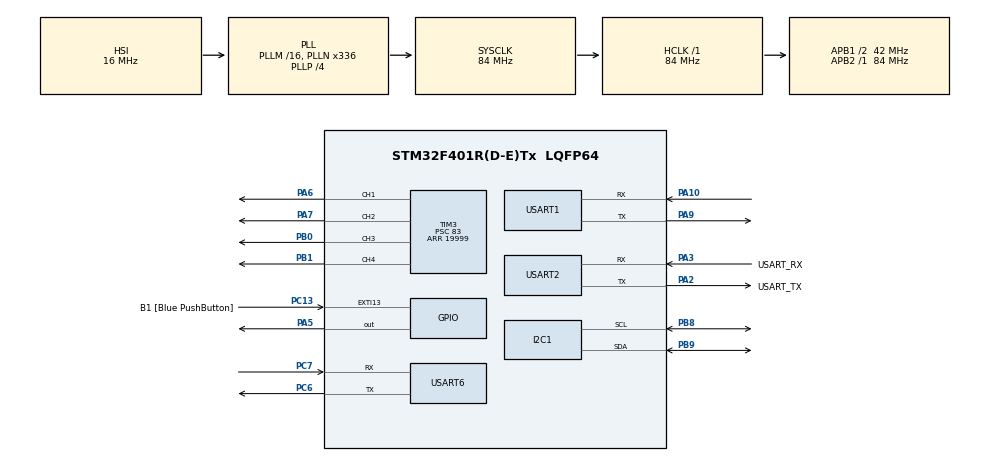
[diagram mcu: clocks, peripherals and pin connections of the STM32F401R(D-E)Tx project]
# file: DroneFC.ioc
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I2C1.I2C_Mode=I2C_Fast
Mcu.Family=STM32F4
Mcu.Name=STM32F401R(D-E)Tx
Mcu.Package=LQFP64
NVIC.PriorityGroup=NVIC_PRIORITYGROUP_4
NVIC.TIM4_IRQn=true\:0\:0\:false\:false\:true\:true\:true\:true
NVIC.USART1_IRQn=true\:2\:0\:true\:false\:true\:true\:true\:true
NVIC.USART6_IRQn=true\:1\:0\:true\:false\:true\:true\:true\:true
PA10.Mode=Asynchronous
PA10.Signal=USART1_RX
PA13.GPIO_Label=TMS
PA13.Mode=Trace_Asynchronous_SW
PA13.Signal=SYS_JTMS-SWDIO
PA14.GPIO_Label=TCK
PA14.Mode=Trace_Asynchronous_SW
PA14.Signal=SYS_JTCK-SWCLK
PA2.GPIO_Label=USART_TX
PA2.GPIO_Mode=GPIO_MODE_AF_PP
PA2.GPIO_PuPd=GPIO_NOPULL
PA2.GPIO_Speed=GPIO_SPEED_FREQ_LOW
PA2.Mode=Asynchronous
PA2.Signal=USART2_TX
PA3.GPIO_Label=USART_RX
PA3.GPIO_Mode=GPIO_MODE_AF_PP
PA3.GPIO_PuPd=GPIO_NOPULL
PA3.GPIO_Speed=GPIO_SPEED_FREQ_LOW
PA3.Mode=Asynchronous
PA3.Signal=USART2_RX
PA5.Signal=GPIO_Output
PA6.Signal=S_TIM3_CH1
PA7.Signal=S_TIM3_CH2
PA9.Mode=Asynchronous
PA9.Signal=USART1_TX
PB0.Signal=S_TIM3_CH3
PB1.Signal=S_TIM3_CH4
PB3.GPIO_Label=SWO
PB3.Mode=Trace_Asynchronous_SW
PB3.Signal=SYS_JTDO-SWO
PB8.Mode=I2C
PB8.Signal=I2C1_SCL
PB9.Mode=I2C
PB9.Signal=I2C1_SDA
PC13-ANTI_TAMP.GPIO_Label=B1 [Blue PushButton]
PC13-ANTI_TAMP.GPIO_ModeDefaultEXTI=GPIO_MODE_IT_FALLING
PC13-ANTI_TAMP.GPIO_PuPd=GPIO_NOPULL
PC13-ANTI_TAMP.Signal=GPXTI13
PC14-OSC32_IN.Mode=LSE-External-Oscillator
PC14-OSC32_IN.Signal=RCC_OSC32_IN
PC15-OSC32_OUT.Mode=LSE-External-Oscillator
PC15-OSC32_OUT.Signal=RCC_OSC32_OUT
PC6.Mode=Asynchronous
PC6.Signal=USART6_TX
PC7.Mode=Asynchronous
PC7.Signal=USART6_RX
PH0\ -\ OSC_IN.Mode=HSE-External-Clock-Source
PH0\ -\ OSC_IN.Signal=RCC_OSC_IN
PH1\ -\ OSC_OUT.Mode=HSE-External-Clock-Source
PH1\ -\ OSC_OUT.Signal=RCC_OSC_OUT
ProjectManager.HeapSize=0x200
ProjectManager.StackSize=0x400
ProjectManager.TargetToolchain=STM32CubeIDE
RCC.48MHZClocksFreq_Value=48000000
RCC.AHBFreq_Value=84000000
RCC.APB1CLKDivider=RCC_HCLK_DIV2
RCC.APB1Freq_Value=42000000
RCC.APB1TimFreq_Value=84000000
RCC.APB2Freq_Value=84000000
RCC.APB2TimFreq_Value=84000000
RCC.CortexFreq_Value=84000000
RCC.HCLKFreq_Value=84000000
RCC.HSE_VALUE=8000000
RCC.HSI_VALUE=16000000
RCC.PLLN=336
RCC.PLLP=RCC_PLLP_DIV4
RCC.PLLQ=7
RCC.SYSCLKFreq_VALUE=84000000
RCC.SYSCLKSource=RCC_SYSCLKSOURCE_PLLCLK
RCC.VCOOutputFreq_Value=336000000
SH.S_TIM3_CH1.0=TIM3_CH1,PWM Generation1 CH1
SH.S_TIM3_CH2.0=TIM3_CH2,PWM Generation2 CH2
SH.S_TIM3_CH3.0=TIM3_CH3,PWM Generation3 CH3
SH.S_TIM3_CH4.0=TIM3_CH4,PWM Generation4 CH4
TIM3.AutoReloadPreload=TIM_AUTORELOAD_PRELOAD_ENABLE
TIM3.Channel-PWM\ Generation1\ CH1=TIM_CHANNEL_1
TIM3.Channel-PWM\ Generation2\ CH2=TIM_CHANNEL_2
TIM3.Channel-PWM\ Generation3\ CH3=TIM_CHANNEL_3
TIM3.Channel-PWM\ Generation4\ CH4=TIM_CHANNEL_4
TIM3.Period=19999
TIM3.Prescaler=83
TIM3.Pulse-PWM\ Generation1\ CH1=1000
TIM3.Pulse-PWM\ Generation2\ CH2=1000
TIM3.Pulse-PWM\ Generation3\ CH3=1000
TIM3.Pulse-PWM\ Generation4\ CH4=1000
TIM4.Prescaler=83
USART1.VirtualMode=VM_ASYNC
USART2.VirtualMode=VM_ASYNC
USART6.VirtualMode=VM_ASYNC
VP_TIM4_VS_ClockSourceINT.Mode=Internal
board=NUCLEO-F401RE

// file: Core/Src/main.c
/* USER CODE BEGIN Header */
/**
  ******************************************************************************
  * @file           : main.c
  * @brief          : Main program body
  *
  * Stage 8b: post-assembly verification, vibration survey, PID tuning console
  *
  * VALUES CHANGED IN THIS VERSION (code is otherwise identical)
  *
  *   MIXER_DRY_RUN     0    -> 1
  *       A crash where one whole SIDE of the aircraft ran lower is a sign
  *       error, not a tuning error. CH2 (back-left) and CH4 (front-left) are
  *       both on the left. Tuning faults look like oscillation; a steady lean
  *       means the controller is commanding it. No gain value fixes that, so
  *       the mixer goes back to dry run until the sign is found.
  *
  *   THROTTLE_CAP_US   2000 -> 1450
  *       Bench ceiling restored. Full throttle belongs to a verified aircraft.
  *
  *   ESC_IDLE_PULSE    1060 -> 1080
  *       The 1025-1045 startup measurements were taken on a fresh pack with
  *       cool motors. Under load, sag and warm bearings push the real
  *       threshold up. A motor sitting below its startup threshold gives the
  *       PID zero response to push against and winds up against nothing.
  *
  *   GYRO_CAL_SAMPLES  2000 -> 1000
  *       The 4-second still-window kept failing on the assembled frame. 1000
  *       halves it and was reliable before assembly.
  *
  *   PID gains         UNCHANGED
  *       Deliberately. They are not the problem and changing them would only
  *       obscure the sign error.
  *
  * FIND THE SIGN ERROR FIRST
  *   Press 'm', arm, throttle above 1150, and tilt the frame by hand:
  *     left side down  -> RL and FL must go UP
  *     nose down       -> FR and FL must go UP
  *   If a pair moves the wrong way, the fault is one of:
  *     - the IMU is rotated relative to the marked nose (most likely; the X
  *       axis must point at the nose, and this was never verified)
  *     - CH_FOR_* does not match the physical motors
  *     - the mixer roll/pitch row signs
  *   Also hang the frame from a string at its centre. An off-centre battery
  *   produces a permanent lean the integrator can never win against.
  *
  * BUILD REQUIREMENTS
  *   - Core/Src: imu.c, control.c      Core/Inc: imu.h, control.h
  *   - FPU: Properties > C/C++ Build > Settings > MCU Settings
  *       Floating-point unit = FPv4-SP-D16, ABI = Hardware implementation
  *   - Float printf: MCU Settings > "Use float with printf from newlib-nano"
  *
  * BOOT MODES
  *   Normal reset          -> flight firmware
  *   Hold B1 during reset  -> motor identification test (props off)
  *
  * SERIAL CONSOLE (115200 8N1)
  *   VIEWS    c channels   s safety   m mixer   t tune   v vibration
  *   TUNING   q/w Kp -/+   a/d Ki -/+   z/x Kd -/+   g gains   0 reset I
  *   SAFETY   k or SPACE = OUTPUTS OFF (latched)   u = release
  *   MISC     n zero counters   h help
  ******************************************************************************
  */
/* USER CODE END Header */
#include "main.h"

/* USER CODE BEGIN Includes */
#include <stdio.h>
#include <string.h>
#include <math.h>
#include "imu.h"
#include "control.h"
/* USER CODE END Includes */

/* USER CODE BEGIN PD */
#define IBUS_FRAME_SIZE   32
#define IBUS_CHANNELS     14

/* Stick channels, 0-based. Standard AETR, confirmed against the transmitter.
   CH1 roll, CH2 pitch (right stick). CH3 throttle, CH4 yaw (left stick).
   CH6 SWA arm switch. */
#define ROLL_CHANNEL      0
#define PITCH_CHANNEL     1
#define THROTTLE_CHANNEL  2
#define YAW_CHANNEL       3
#define ARM_CHANNEL       5

#define ARM_THRESHOLD     1500
#define THROTTLE_MIN_ARM  1050

#define STICK_CENTRE      1500
#define STICK_DEADBAND    15

/* ---- Failsafe ------------------------------------------------------------ *
 * Primary path is the ARM channel: the transmitter drives CH6 to its disarm
 * position on signal loss, which trips on the next loop iteration with no
 * dwell. The throttle-window path is the backup, and its dwell is why it
 * measured 202 ms.                                                           */
#define FAILSAFE_MS           100
#define FS_THROTTLE_LOW      1012
#define FS_THROTTLE_HIGH     1032
#define FS_THROTTLE_DWELL_MS  200

/* ---- ESC pulse range ----------------------------------------------------- *
 * Measured startup after calibration: CH1 1045, CH2 1025, CH3 1025, CH4 1040.
 * Raised from 1060 to 1080 -- those readings came from a fresh pack with cool
 * motors, and under load the real threshold rises.                           */
#define ESC_OFF_PULSE     1000
#define ESC_IDLE_PULSE    1080
#define ESC_MAX_PULSE     2000

#define THROTTLE_STICK_MIN 1000
#define THROTTLE_STICK_MAX 2000

/* Bench ceiling. Enough thrust to survey vibration and exercise the loop, not
   enough to fly. Raise deliberately, never casually. */
#define THROTTLE_CAP_US   2000

/* Motor identification test, hold B1 during reset. PROPS OFF. */
#define MOTOR_TEST_PULSE  1150
#define MOTOR_TEST_MS     2000

#define LOOP_HZ           500u
#define LOOP_PERIOD_US    (1000000u / LOOP_HZ)

/* 1000 samples is about a 2 second still-window. 2000 kept failing on the
   assembled frame -- twice the window is twice the chance of a disturbance. */
#define GYRO_CAL_SAMPLES  1000

/* Vibration survey window. */
#define VIB_WINDOW_MS     500

/* ---- Control configuration ----------------------------------------------- */

/* 1 = pitch and yaw outputs forced to zero, for a roll-only stand. */
#define STAND_ROLL_ONLY   0

/* 0 = rate/acro (Stage 8, inner loop). 1 = angle/self-levelling (Stage 9). */
#define LEVEL_MODE        0

#define MAX_ANGLE_DEG     30.0f
#define MAX_RATE_DPS      200.0f
#define MAX_YAW_RATE_DPS  180.0f
#define ANGLE_KP          4.5f

/* UNCHANGED. These are not what caused the crash, and altering them now would
   only make the sign error harder to see. */
#define RATE_ROLL_KP      0.60f
#define RATE_ROLL_KI      0.50f
#define RATE_ROLL_KD      0.010f

#define RATE_PITCH_KP     0.60f
#define RATE_PITCH_KI     0.50f
#define RATE_PITCH_KD     0.010f

#define RATE_YAW_KP       1.20f
#define RATE_YAW_KI       0.60f
#define RATE_YAW_KD       0.0f

#define PID_I_LIMIT       120.0f
#define PID_OUT_LIMIT     250.0f
#define PID_D_ALPHA       0.15f
#define PID_ACTIVE_US     1150

#define KP_STEP           0.05f
#define KI_STEP           0.05f
#define KD_STEP           0.002f

/* ---- Output stage -------------------------------------------------------- */

/* 1 = compute and print the mix, motors follow throttle only.
   Back to 1 until the tilt test above passes. */
#define MIXER_DRY_RUN     1

/* Physical position -> TIM3 channel, from the motor labelling run.
   CH1 back right, CH2 back left, CH3 front right, CH4 front left. */
#define CH_FOR_FR         2      // CH3
#define CH_FOR_FL         3      // CH4
#define CH_FOR_RR         0      // CH1
#define CH_FOR_RL         1      // CH2

/* ---- Serial views -------------------------------------------------------- */
#define VIEW_CHANNELS     0
#define VIEW_SAFETY       1
#define VIEW_MIXER        2
#define VIEW_TUNE         3
#define VIEW_VIB          4

/* ---- Failsafe reason codes ----------------------------------------------- */
#define FS_NONE           0
#define FS_NO_FRAMES      1
#define FS_THROTTLE       2
/* USER CODE END PD */

I2C_HandleTypeDef hi2c1;

TIM_HandleTypeDef htim3;
TIM_HandleTypeDef htim4;

UART_HandleTypeDef huart1;
UART_HandleTypeDef huart2;
UART_HandleTypeDef huart6;

/* USER CODE BEGIN PV */
uint8_t  ibus_rx_byte;
uint8_t  ibus_buf[IBUS_FRAME_SIZE];
uint8_t  ibus_frame[IBUS_FRAME_SIZE];
uint8_t  ibus_index = 0;
uint16_t ibus_channels[IBUS_CHANNELS];
volatile uint8_t ibus_frame_ready = 0;
uint32_t ibus_last_frame_ms = 0;

uint32_t frames_good = 0;
uint32_t frames_bad  = 0;
uint8_t  link_ever_up = 0;

volatile uint8_t armed = 0;
uint8_t  arm_switch_was_low = 0;

uint8_t  failsafe_active   = 0;
uint8_t  failsafe_reason   = FS_NONE;
uint8_t  failsafe_last_rsn = FS_NONE;
uint32_t failsafe_events   = 0;
uint32_t failsafe_last_ms  = 0;
uint32_t failsafe_worst_ms = 0;
uint32_t fs_throttle_since = 0;

uint8_t  imu_ok = 0;

/* Start in the mixer view -- finding the sign error is the open question. */
uint8_t  view   = VIEW_MIXER;

/* Software kill latch, independent of the radio. Hands are on the frame
   during bench work, not on the transmitter. */
uint8_t  output_latched_off = 0;

/* Vibration survey accumulators. Peak-to-peak over a rolling window is a
   better vibration metric than instantaneous value -- it captures the
   oscillation the D term will amplify. */
float vib_gr_min, vib_gr_max, vib_gp_min, vib_gp_max, vib_gy_min, vib_gy_max;
float vib_am_min, vib_am_max;
float vib_gr_pp = 0, vib_gp_pp = 0, vib_gy_pp = 0, vib_am_pp = 0;
float vib_gr_worst = 0, vib_am_worst = 0;
uint32_t vib_window_start = 0;

float roll_rate_peak = 0.0f;

pid_t     pid_roll, pid_pitch, pid_yaw;
mix_out_t mix;
/* USER CODE END PV */

void SystemClock_Config(void);
static void MX_GPIO_Init(void);
static void MX_USART2_UART_Init(void);
static void MX_I2C1_Init(void);
static void MX_TIM3_Init(void);
static void MX_TIM4_Init(void);
static void MX_USART1_UART_Init(void);
static void MX_USART6_UART_Init(void);
/* USER CODE BEGIN PFP */
static void iBus_Parse(void);
static void Update_ArmState(void);
static uint8_t Link_Lost(void);
static void Motors_Write(uint16_t pulse);
static void Motors_Write_One(uint8_t motor, uint16_t pulse);
static void Motors_Off(void);
static void Motor_Test_Sequence(void);
static void I2C_Scan(void);
static void Channels_SeedSafe(void);
static float Stick_Norm(uint16_t ch);
static void Control_Reset(void);
static void HandleConsole(void);
static void PrintHelp(void);
static void PrintGains(void);
static void Vib_ResetWindow(void);
static const char *FsReasonName(uint8_t r);
/* USER CODE END PFP */

/* USER CODE BEGIN 0 */
int __io_putchar(int ch)
{
  HAL_UART_Transmit(&huart2, (uint8_t *)&ch, 1, HAL_MAX_DELAY);
  return ch;
}

static inline uint16_t Micros16(void)
{
  return (uint16_t)__HAL_TIM_GET_COUNTER(&htim4);
}

/* ibus_channels[] is a global and starts at all zeros. Zero is not neutral:
   Stick_Norm(0) clamps to -1.0, full negative deflection on every axis. */
static void Channels_SeedSafe(void)
{
  for (int i = 0; i < IBUS_CHANNELS; i++) ibus_channels[i] = STICK_CENTRE;

  ibus_channels[THROTTLE_CHANNEL] = THROTTLE_STICK_MIN;
  ibus_channels[ARM_CHANNEL]      = 1000;
}

static const char *FsReasonName(uint8_t r)
{
  switch (r)
  {
    case FS_NO_FRAMES: return "NOFRAME";
    case FS_THROTTLE:  return "THR";
    default:           return "-";
  }
}

static void Vib_ResetWindow(void)
{
  vib_gr_min = vib_gp_min = vib_gy_min =  99999.0f;
  vib_gr_max = vib_gp_max = vib_gy_max = -99999.0f;
  vib_am_min =  99999.0f;
  vib_am_max = -99999.0f;
  vib_window_start = HAL_GetTick();
}

void HAL_UART_RxCpltCallback(UART_HandleTypeDef *huart)
{
  if (huart->Instance == USART6)
  {
    uint8_t b = ibus_rx_byte;

    if (ibus_index == 0)
    {
      if (b == 0x20) ibus_buf[ibus_index++] = b;
    }
    else if (ibus_index == 1)
    {
      if (b == 0x40) ibus_buf[ibus_index++] = b;
      else ibus_index = 0;
    }
    else
    {
      ibus_buf[ibus_index++] = b;
      if (ibus_index >= IBUS_FRAME_SIZE)
      {
        memcpy(ibus_frame, ibus_buf, IBUS_FRAME_SIZE);
        ibus_frame_ready = 1;
        ibus_index = 0;
      }
    }

    HAL_UART_Receive_IT(&huart6, &ibus_rx_byte, 1);
  }
}

static void iBus_Parse(void)
{
  uint16_t checksum = 0xFFFF;
  for (int i = 0; i < 30; i++) checksum -= ibus_frame[i];

  uint16_t received = ibus_frame[30] | (ibus_frame[31] << 8);

  if (checksum != received)
  {
    frames_bad++;
    return;
  }

  for (int i = 0; i < IBUS_CHANNELS; i++)
  {
    ibus_channels[i] = ibus_frame[2 + i*2] | (ibus_frame[3 + i*2] << 8);
  }
  ibus_last_frame_ms = HAL_GetTick();
  frames_good++;
  link_ever_up = 1;
}

static uint8_t Link_Lost(void)
{
  uint32_t now = HAL_GetTick();

  if (now - ibus_last_frame_ms > FAILSAFE_MS)
  {
    failsafe_reason = FS_NO_FRAMES;
    return 1;
  }

  uint16_t throttle = ibus_channels[THROTTLE_CHANNEL];

  if (throttle >= FS_THROTTLE_LOW && throttle <= FS_THROTTLE_HIGH)
  {
    if (fs_throttle_since == 0) fs_throttle_since = now;

    if (now - fs_throttle_since > FS_THROTTLE_DWELL_MS)
    {
      failsafe_reason = FS_THROTTLE;
      return 1;
    }
  }
  else
  {
    fs_throttle_since = 0;
  }

  failsafe_reason = FS_NONE;
  return 0;
}

static void Update_ArmState(void)
{
  uint8_t  link_lost = Link_Lost();
  uint16_t arm_sw    = ibus_channels[ARM_CHANNEL];
  uint16_t throttle  = ibus_channels[THROTTLE_CHANNEL];

  if (link_lost && !failsafe_active && link_ever_up)
  {
    failsafe_active  = 1;
    failsafe_events++;
    failsafe_last_rsn = failsafe_reason;

    if (failsafe_reason == FS_NO_FRAMES)
      failsafe_last_ms = HAL_GetTick() - ibus_last_frame_ms;
    else
      failsafe_last_ms = HAL_GetTick() - fs_throttle_since;

    if (failsafe_last_ms > failsafe_worst_ms) failsafe_worst_ms = failsafe_last_ms;
  }
  else if (!link_lost && failsafe_active)
  {
    failsafe_active = 0;
  }

  if (link_lost || arm_sw < ARM_THRESHOLD)
  {
    armed = 0;
    if (!link_lost && arm_sw < ARM_THRESHOLD) arm_switch_was_low = 1;
    return;
  }

  if (!armed)
  {
    if (arm_switch_was_low && throttle < THROTTLE_MIN_ARM)
    {
      armed = 1;
      arm_switch_was_low = 0;
    }
  }
}

static float Stick_Norm(uint16_t ch)
{
  int32_t d = (int32_t)ch - STICK_CENTRE;

  if (d > STICK_DEADBAND)       d -= STICK_DEADBAND;
  else if (d < -STICK_DEADBAND) d += STICK_DEADBAND;
  else return 0.0f;

  float n = (float)d / (float)(500 - STICK_DEADBAND);
  if (n >  1.0f) n =  1.0f;
  if (n < -1.0f) n = -1.0f;
  return n;
}

static void Control_Reset(void)
{
  PID_Reset(&pid_roll);
  PID_Reset(&pid_pitch);
  PID_Reset(&pid_yaw);
}

static void Motors_Write_One(uint8_t motor, uint16_t pulse)
{
  switch (motor)
  {
    case 0: __HAL_TIM_SET_COMPARE(&htim3, TIM_CHANNEL_1, pulse); break;
    case 1: __HAL_TIM_SET_COMPARE(&htim3, TIM_CHANNEL_2, pulse); break;
    case 2: __HAL_TIM_SET_COMPARE(&htim3, TIM_CHANNEL_3, pulse); break;
    case 3: __HAL_TIM_SET_COMPARE(&htim3, TIM_CHANNEL_4, pulse); break;
    default: break;
  }
}

static void Motors_Write(uint16_t pulse)
{
  for (uint8_t m = 0; m < 4; m++) Motors_Write_One(m, pulse);
}

static void Motors_Off(void)
{
  Motors_Write(ESC_OFF_PULSE);
}

static void I2C_Scan(void)
{
  uint8_t found = 0;

  printf("I2C scan: ");
  for (uint8_t a = 1; a < 128; a++)
  {
    if (HAL_I2C_IsDeviceReady(&hi2c1, (uint16_t)(a << 1), 2, 10) == HAL_OK)
    {
      printf("0x%02X ", a);
      found++;
    }
  }
  if (!found) printf("(nothing responded)");
  printf("\r\n");
}

/* A wrong CH_FOR_* mapping is one of the three candidates for the crash.
   Expected, from the labelling run:
     CH1 back-right   CH2 back-left   CH3 front-right   CH4 front-left        */
static void Motor_Test_Sequence(void)
{
  static const char *expect[4] = {
    "back-right", "back-left", "front-right", "front-left"
  };

  printf("\r\n*** MOTOR TEST - PROPS OFF ***\r\n");
  printf("Confirm each matches. If not, CH_FOR_* must be corrected.\r\n");

  Motors_Off();
  HAL_Delay(3000);   // ESC arming window

  for (uint8_t m = 0; m < 4; m++)
  {
    printf("  CH%u -> expect %s\r\n", m + 1, expect[m]);

    Motors_Write_One(m, MOTOR_TEST_PULSE);
    HAL_Delay(MOTOR_TEST_MS);
    Motors_Write_One(m, ESC_OFF_PULSE);

    HAL_Delay(1000);
  }

  printf("Done. Reset without B1 for normal operation.\r\n");
  Motors_Off();

  while (1)
  {
    HAL_GPIO_TogglePin(GPIOA, GPIO_PIN_5);
    HAL_Delay(150);
  }
}

static void PrintGains(void)
{
  printf("\r\nROLL  Kp %.3f  Ki %.3f  Kd %.4f\r\n",
         pid_roll.kp, pid_roll.ki, pid_roll.kd);
  printf("PITCH Kp %.3f  Ki %.3f  Kd %.4f\r\n",
         pid_pitch.kp, pid_pitch.ki, pid_pitch.kd);
  printf("YAW   Kp %.3f  Ki %.3f  Kd %.4f\r\n\r\n",
         pid_yaw.kp, pid_yaw.ki, pid_yaw.kd);
}

static void PrintHelp(void)
{
  printf("\r\n--- CONSOLE ---\r\n");
  printf(" VIEWS   c channels  s safety  m mixer  t tune  v vibration\r\n");
  printf(" TUNE    q/w Kp -/+   a/d Ki -/+   z/x Kd -/+   g gains\r\n");
  printf("         0 reset integrators\r\n");
  printf(" SAFETY  k or SPACE = OUTPUTS OFF (latched)   u = release\r\n");
  printf(" MISC    n zero counters   h help\r\n");
  printf(" Tuning keys act on ROLL only.\r\n\r\n");
  printf(" TILT TEST: arm, throttle >1150, tilt by hand.\r\n");
  printf("   left side down -> RL and FL must RISE\r\n");
  printf("   nose down      -> FR and FL must RISE\r\n\r\n");
}

static void HandleConsole(void)
{
  uint8_t c;

  while (HAL_UART_Receive(&huart2, &c, 1, 0) == HAL_OK)
  {
    switch (c)
    {
      case 'c': case 'C': view = VIEW_CHANNELS; printf("\r\n[channels]\r\n"); break;
      case 's': case 'S': view = VIEW_SAFETY;   printf("\r\n[safety]\r\n");   break;
      case 'm': case 'M': view = VIEW_MIXER;    printf("\r\n[mixer]\r\n");    break;
      case 't': case 'T': view = VIEW_TUNE;     printf("\r\n[tune]\r\n");     break;
      case 'v': case 'V': view = VIEW_VIB;      printf("\r\n[vibration]\r\n"); break;

      case 'q': case 'Q':
        pid_roll.kp -= KP_STEP;
        if (pid_roll.kp < 0.0f) pid_roll.kp = 0.0f;
        printf("Kp %.3f\r\n", pid_roll.kp);
        break;

      case 'w': case 'W':
        pid_roll.kp += KP_STEP;
        printf("Kp %.3f\r\n", pid_roll.kp);
        break;

      case 'a': case 'A':
        pid_roll.ki -= KI_STEP;
        if (pid_roll.ki < 0.0f) pid_roll.ki = 0.0f;
        PID_Reset(&pid_roll);      /* stale integral under a new Ki is meaningless */
        printf("Ki %.3f (I cleared)\r\n", pid_roll.ki);
        break;

      case 'd': case 'D':
        pid_roll.ki += KI_STEP;
        PID_Reset(&pid_roll);
        printf("Ki %.3f (I cleared)\r\n", pid_roll.ki);
        break;

      case 'z': case 'Z':
        pid_roll.kd -= KD_STEP;
        if (pid_roll.kd < 0.0f) pid_roll.kd = 0.0f;
        printf("Kd %.4f\r\n", pid_roll.kd);
        break;

      case 'x': case 'X':
        pid_roll.kd += KD_STEP;
        printf("Kd %.4f\r\n", pid_roll.kd);
        break;

      case 'g': case 'G':
        PrintGains();
        break;

      case '0':
        Control_Reset();
        roll_rate_peak = 0.0f;
        printf("integrators cleared\r\n");
        break;

      case 'k': case 'K': case ' ':
        output_latched_off = 1;
        printf("\r\n*** OUTPUTS LATCHED OFF - press u to release ***\r\n");
        break;

      case 'u': case 'U':
        output_latched_off = 0;
        Control_Reset();
        printf("outputs released\r\n");
        break;

      case 'n': case 'N':
        frames_good = 0;
        frames_bad  = 0;
        failsafe_events   = 0;
        failsafe_last_ms  = 0;
        failsafe_worst_ms = 0;
        failsafe_last_rsn = FS_NONE;
        roll_rate_peak    = 0.0f;
        vib_gr_worst      = 0.0f;
        vib_am_worst      = 0.0f;
        printf("counters zeroed\r\n");
        break;

      case 'h': case 'H': case '?':
        PrintHelp();
        break;

      default:
        break;
    }
  }
}
/* USER CODE END 0 */

int main(void)
{
  HAL_Init();
  SystemClock_Config();

  MX_GPIO_Init();
  MX_USART2_UART_Init();
  MX_I2C1_Init();
  MX_TIM3_Init();
  MX_TIM4_Init();
  MX_USART1_UART_Init();
  MX_USART6_UART_Init();

  /* USER CODE BEGIN 2 */
  Channels_SeedSafe();

  HAL_TIM_MspPostInit(&htim3);
  HAL_TIM_Base_Start(&htim4);

  HAL_TIM_PWM_Start(&htim3, TIM_CHANNEL_1);
  HAL_TIM_PWM_Start(&htim3, TIM_CHANNEL_2);
  HAL_TIM_PWM_Start(&htim3, TIM_CHANNEL_3);
  HAL_TIM_PWM_Start(&htim3, TIM_CHANNEL_4);
  Motors_Off();

  printf("\r\n\r\n=== Stage 8b: post-assembly verification ===\r\n");
  printf("Expected: CH1 back-right CH2 back-left CH3 front-right CH4 front-left\r\n");
  printf("ESC idle %u us, bench throttle cap %u us\r\n",
         ESC_IDLE_PULSE, THROTTLE_CAP_US);

  /* Checked before sensor bring-up so a dead IMU never blocks motor work. */
  if (HAL_GPIO_ReadPin(B1_GPIO_Port, B1_Pin) == GPIO_PIN_RESET)
  {
    Motor_Test_Sequence();   // does not return
  }

  I2C_Scan();

  printf("IMU init... ");
  if (IMU_Init(&hi2c1))
  {
    printf("ok\r\n");
    printf("Gyro calibration - HOLD STILL (~2s)... ");
    if (IMU_CalibrateGyro(GYRO_CAL_SAMPLES))
    {
      printf("ok\r\n");
      IMU_ResetAttitude();
      imu_ok = 1;
    }
    else
    {
      printf("FAILED - board moved. Reset to retry.\r\n");
    }
  }
  else
  {
    printf("FAILED - check wiring / address / AD0\r\n");
  }

  PID_Init(&pid_roll,  RATE_ROLL_KP,  RATE_ROLL_KI,  RATE_ROLL_KD,
           PID_I_LIMIT, PID_OUT_LIMIT, PID_D_ALPHA);
  PID_Init(&pid_pitch, RATE_PITCH_KP, RATE_PITCH_KI, RATE_PITCH_KD,
           PID_I_LIMIT, PID_OUT_LIMIT, PID_D_ALPHA);
  PID_Init(&pid_yaw,   RATE_YAW_KP,   RATE_YAW_KI,   RATE_YAW_KD,
           PID_I_LIMIT, PID_OUT_LIMIT, 1.0f);

  Vib_ResetWindow();

#if LEVEL_MODE
  printf("Mode: ANGLE (self-levelling)\r\n");
#else
  printf("Mode: RATE. Centred sticks = hold still, resist pushes.\r\n");
#endif

#if MIXER_DRY_RUN
  printf("MIXER DRY RUN - motors follow throttle only, all four equal.\r\n");
  printf("Run the tilt test below before setting this to 0 again.\r\n");
#else
  printf("*** MIXER LIVE - frame must be restrained ***\r\n");
#endif

  PrintHelp();
  printf("Arm at min throttle. Connect battery now.\r\n");
  HAL_Delay(3000);

  HAL_UART_Receive_IT(&huart6, &ibus_rx_byte, 1);
  /* USER CODE END 2 */

  /* USER CODE BEGIN WHILE */
  uint16_t last_loop_us = Micros16();
  uint32_t loop_count   = 0;
  uint32_t loop_hz      = 0;
  uint32_t last_rate_ms = HAL_GetTick();
  uint32_t last_print   = 0;

  float    roll_sp_shown  = 0.0f;
  float    roll_out_shown = 0.0f;
  uint16_t thr_shown      = ESC_OFF_PULSE;

  while (1)
  {
    if (ibus_frame_ready)
    {
      ibus_frame_ready = 0;
      iBus_Parse();
    }

    HandleConsole();

    /* -- fixed-rate control block ------------------------------------- */
    uint16_t now_us   = Micros16();
    uint16_t delta_us = (uint16_t)(now_us - last_loop_us);

    if (delta_us >= LOOP_PERIOD_US)
    {
      float dt = (float)delta_us / 1000000.0f;
      last_loop_us = now_us;
      loop_count++;

      if (imu_ok) IMU_Update(dt);

      Update_ArmState();

      const imu_data_t *d = IMU_Get();

      /* Vibration accumulators. Peak-to-peak over a window captures the
         oscillation the D term amplifies far better than any single sample. */
      if (d->gyro_roll  < vib_gr_min) vib_gr_min = d->gyro_roll;
      if (d->gyro_roll  > vib_gr_max) vib_gr_max = d->gyro_roll;
      if (d->gyro_pitch < vib_gp_min) vib_gp_min = d->gyro_pitch;
      if (d->gyro_pitch > vib_gp_max) vib_gp_max = d->gyro_pitch;
      if (d->gyro_yaw   < vib_gy_min) vib_gy_min = d->gyro_yaw;
      if (d->gyro_yaw   > vib_gy_max) vib_gy_max = d->gyro_yaw;

      float am = sqrtf(d->acc_x * d->acc_x +
                       d->acc_y * d->acc_y +
                       d->acc_z * d->acc_z);
      if (am < vib_am_min) vib_am_min = am;
      if (am > vib_am_max) vib_am_max = am;

      float ar = (d->gyro_roll < 0.0f) ? -d->gyro_roll : d->gyro_roll;
      if (ar > roll_rate_peak) roll_rate_peak = ar;

      uint16_t thr_raw = ibus_channels[THROTTLE_CHANNEL];
      if (thr_raw < THROTTLE_STICK_MIN) thr_raw = THROTTLE_STICK_MIN;
      if (thr_raw > THROTTLE_STICK_MAX) thr_raw = THROTTLE_STICK_MAX;

      uint16_t thr_us = ESC_IDLE_PULSE +
              (uint32_t)(thr_raw - THROTTLE_STICK_MIN) *
              (ESC_MAX_PULSE - ESC_IDLE_PULSE) /
              (THROTTLE_STICK_MAX - THROTTLE_STICK_MIN);

      /* Bench ceiling, applied after the map so the stick keeps full
         resolution below the cap. */
      if (thr_us > THROTTLE_CAP_US) thr_us = THROTTLE_CAP_US;
      thr_shown = thr_us;

      uint8_t outputs_live = armed && !output_latched_off;

      float roll_out = 0.0f, pitch_out = 0.0f, yaw_out = 0.0f;

      if (outputs_live && imu_ok && thr_us >= PID_ACTIVE_US)
      {
        float roll_stick  = Stick_Norm(ibus_channels[ROLL_CHANNEL]);
        float pitch_stick = Stick_Norm(ibus_channels[PITCH_CHANNEL]);
        float yaw_stick   = Stick_Norm(ibus_channels[YAW_CHANNEL]);

        float roll_rate_sp, pitch_rate_sp;

#if LEVEL_MODE
        float roll_target  = roll_stick  * MAX_ANGLE_DEG;
        float pitch_target = pitch_stick * MAX_ANGLE_DEG;

        roll_rate_sp  = ANGLE_KP * (roll_target  - d->roll);
        pitch_rate_sp = ANGLE_KP * (pitch_target - d->pitch);

        if (roll_rate_sp  >  MAX_RATE_DPS) roll_rate_sp  =  MAX_RATE_DPS;
        if (roll_rate_sp  < -MAX_RATE_DPS) roll_rate_sp  = -MAX_RATE_DPS;
        if (pitch_rate_sp >  MAX_RATE_DPS) pitch_rate_sp =  MAX_RATE_DPS;
        if (pitch_rate_sp < -MAX_RATE_DPS) pitch_rate_sp = -MAX_RATE_DPS;
#else
        roll_rate_sp  = roll_stick  * MAX_RATE_DPS;
        pitch_rate_sp = pitch_stick * MAX_RATE_DPS;
#endif
        float yaw_rate_sp = yaw_stick * MAX_YAW_RATE_DPS;

        /* Inner rate loop, always on raw gyro -- the filtered angle's group
           delay would show up as oscillation. */
        roll_out  = PID_Update(&pid_roll,  roll_rate_sp,  d->gyro_roll,  dt);
        pitch_out = PID_Update(&pid_pitch, pitch_rate_sp, d->gyro_pitch, dt);
        yaw_out   = PID_Update(&pid_yaw,   yaw_rate_sp,   d->gyro_yaw,   dt);

#if STAND_ROLL_ONLY
        pitch_out = 0.0f;
        yaw_out   = 0.0f;
        PID_Reset(&pid_pitch);
        PID_Reset(&pid_yaw);
#endif
        roll_sp_shown  = roll_rate_sp;
        roll_out_shown = roll_out;
      }
      else
      {
        Control_Reset();
        roll_sp_shown  = 0.0f;
        roll_out_shown = 0.0f;
      }

      Control_Mix(outputs_live ? thr_us : ESC_OFF_PULSE,
                  roll_out, pitch_out, yaw_out,
                  outputs_live ? ESC_IDLE_PULSE : ESC_OFF_PULSE,
                  ESC_MAX_PULSE, &mix);

#if MIXER_DRY_RUN
      Motors_Write(outputs_live ? thr_us : ESC_OFF_PULSE);
#else
      if (outputs_live)
      {
        Motors_Write_One(CH_FOR_FR, mix.us[MOTOR_FR]);
        Motors_Write_One(CH_FOR_FL, mix.us[MOTOR_FL]);
        Motors_Write_One(CH_FOR_RR, mix.us[MOTOR_RR]);
        Motors_Write_One(CH_FOR_RL, mix.us[MOTOR_RL]);
      }
      else
      {
        Motors_Off();
      }
#endif
    }

    /* -- housekeeping -------------------------------------------------- */
    HAL_GPIO_WritePin(GPIOA, GPIO_PIN_5,
                      (armed && !output_latched_off) ? GPIO_PIN_SET : GPIO_PIN_RESET);

    /* Latch the vibration window. */
    if (HAL_GetTick() - vib_window_start >= VIB_WINDOW_MS)
    {
      vib_gr_pp = vib_gr_max - vib_gr_min;
      vib_gp_pp = vib_gp_max - vib_gp_min;
      vib_gy_pp = vib_gy_max - vib_gy_min;
      vib_am_pp = vib_am_max - vib_am_min;

      if (vib_gr_pp > vib_gr_worst) vib_gr_worst = vib_gr_pp;
      if (vib_am_pp > vib_am_worst) vib_am_worst = vib_am_pp;

      Vib_ResetWindow();
    }

    if (HAL_GetTick() - last_rate_ms >= 1000)
    {
      last_rate_ms += 1000;
      loop_hz    = loop_count;
      loop_count = 0;
    }

    if (HAL_GetTick() - last_print >= 100)
    {
      last_print = HAL_GetTick();

      switch (view)
      {
        case VIEW_CHANNELS:
          printf("CH");
          for (int i = 0; i < 8; i++) printf(" %u:%4u", i + 1, ibus_channels[i]);
          printf(" | ok:%lu bad:%lu %s\r\n",
                 (unsigned long)frames_good,
                 (unsigned long)frames_bad,
                 failsafe_active ? "LOST" : "link");
          break;

        case VIEW_SAFETY:
          printf("%s thr:%4u arm:%4u | fs n:%lu last:%lums(%s) worst:%lums | bad:%lu\r\n",
                 armed ? "ARM " : "DIS ",
                 ibus_channels[THROTTLE_CHANNEL],
                 ibus_channels[ARM_CHANNEL],
                 (unsigned long)failsafe_events,
                 (unsigned long)failsafe_last_ms,
                 FsReasonName(failsafe_last_rsn),
                 (unsigned long)failsafe_worst_ms,
                 (unsigned long)frames_bad);
          break;

        case VIEW_VIB:
          printf("%s thr:%4u | pp gr:%6.1f gp:%6.1f gy:%6.1f dps | acc pp:%.3fg"
                 " | worst gr:%6.1f acc:%.3f | %luHz\r\n",
                 output_latched_off ? "LATCH" : (armed ? "ARM " : "DIS "),
                 thr_shown,
                 vib_gr_pp, vib_gp_pp, vib_gy_pp, vib_am_pp,
                 vib_gr_worst, vib_am_worst,
                 (unsigned long)loop_hz);
          break;

        case VIEW_TUNE:
        {
          const imu_data_t *dp = IMU_Get();
          printf("%s r:%6.1f gr:%7.1f sp:%6.1f out:%7.1f pk:%6.1f | "
                 "Kp%.2f Ki%.2f Kd%.3f | %luHz\r\n",
                 output_latched_off ? "LATCH" : (armed ? "ARM " : "DIS "),
                 dp->roll, dp->gyro_roll,
                 roll_sp_shown, roll_out_shown, roll_rate_peak,
                 pid_roll.kp, pid_roll.ki, pid_roll.kd,
                 (unsigned long)loop_hz);
          break;
        }

        case VIEW_MIXER:
        default:
          if (imu_ok)
          {
            const imu_data_t *dp = IMU_Get();
            printf("r:%6.1f p:%6.1f | FR:%4u FL:%4u RR:%4u RL:%4u | %luHz %s\r\n",
                   dp->roll, dp->pitch,
                   mix.us[MOTOR_FR], mix.us[MOTOR_FL],
                   mix.us[MOTOR_RR], mix.us[MOTOR_RL],
                   (unsigned long)loop_hz,
                   output_latched_off ? "LATCH" : (armed ? "ARM" : "DIS"));
          }
          else
          {
            printf("IMU unavailable | %luHz\r\n", (unsigned long)loop_hz);
          }
          break;
      }
    }
    /* USER CODE END WHILE */

  }
}

void SystemClock_Config(void)
{
  RCC_OscInitTypeDef RCC_OscInitStruct = {0};
  RCC_ClkInitTypeDef RCC_ClkInitStruct = {0};

  __HAL_RCC_PWR_CLK_ENABLE();
  __HAL_PWR_VOLTAGESCALING_CONFIG(PWR_REGULATOR_VOLTAGE_SCALE2);

  RCC_OscInitStruct.OscillatorType = RCC_OSCILLATORTYPE_HSI;
  RCC_OscInitStruct.HSIState = RCC_HSI_ON;
  RCC_OscInitStruct.HSICalibrationValue = RCC_HSICALIBRATION_DEFAULT;
  RCC_OscInitStruct.PLL.PLLState = RCC_PLL_ON;
  RCC_OscInitStruct.PLL.PLLSource = RCC_PLLSOURCE_HSI;
  RCC_OscInitStruct.PLL.PLLM = 16;
  RCC_OscInitStruct.PLL.PLLN = 336;
  RCC_OscInitStruct.PLL.PLLP = RCC_PLLP_DIV4;
  RCC_OscInitStruct.PLL.PLLQ = 7;
  if (HAL_RCC_OscConfig(&RCC_OscInitStruct) != HAL_OK)
  {
    Error_Handler();
  }

  RCC_ClkInitStruct.ClockType = RCC_CLOCKTYPE_HCLK|RCC_CLOCKTYPE_SYSCLK
                              |RCC_CLOCKTYPE_PCLK1|RCC_CLOCKTYPE_PCLK2;
  RCC_ClkInitStruct.SYSCLKSource = RCC_SYSCLKSOURCE_PLLCLK;
  RCC_ClkInitStruct.AHBCLKDivider = RCC_SYSCLK_DIV1;
  RCC_ClkInitStruct.APB1CLKDivider = RCC_HCLK_DIV2;
  RCC_ClkInitStruct.APB2CLKDivider = RCC_HCLK_DIV1;

  if (HAL_RCC_ClockConfig(&RCC_ClkInitStruct, FLASH_LATENCY_2) != HAL_OK)
  {
    Error_Handler();
  }
}

static void MX_I2C1_Init(void)
{
  hi2c1.Instance = I2C1;
  hi2c1.Init.ClockSpeed = 400000;
  hi2c1.Init.DutyCycle = I2C_DUTYCYCLE_2;
  hi2c1.Init.OwnAddress1 = 0;
  hi2c1.Init.AddressingMode = I2C_ADDRESSINGMODE_7BIT;
  hi2c1.Init.DualAddressMode = I2C_DUALADDRESS_DISABLE;
  hi2c1.Init.OwnAddress2 = 0;
  hi2c1.Init.GeneralCallMode = I2C_GENERALCALL_DISABLE;
  hi2c1.Init.NoStretchMode = I2C_NOSTRETCH_DISABLE;
  if (HAL_I2C_Init(&hi2c1) != HAL_OK)
  {
    Error_Handler();
  }
}

static void MX_TIM3_Init(void)
{
  TIM_MasterConfigTypeDef sMasterConfig = {0};
  TIM_OC_InitTypeDef sConfigOC = {0};

  htim3.Instance = TIM3;
  htim3.Init.Prescaler = 83;          // 84 MHz / 84 = 1 MHz -> 1 tick = 1 us
  htim3.Init.CounterMode = TIM_COUNTERMODE_UP;
  htim3.Init.Period = 19999;          // 20000 us = 50 Hz
  htim3.Init.ClockDivision = TIM_CLOCKDIVISION_DIV1;
  htim3.Init.AutoReloadPreload = TIM_AUTORELOAD_PRELOAD_ENABLE;
  if (HAL_TIM_PWM_Init(&htim3) != HAL_OK)
  {
    Error_Handler();
  }
  sMasterConfig.MasterOutputTrigger = TIM_TRGO_RESET;
  sMasterConfig.MasterSlaveMode = TIM_MASTERSLAVEMODE_DISABLE;
  if (HAL_TIMEx_MasterConfigSynchronization(&htim3, &sMasterConfig) != HAL_OK)
  {
    Error_Handler();
  }
  sConfigOC.OCMode = TIM_OCMODE_PWM1;
  sConfigOC.Pulse = ESC_OFF_PULSE;
  sConfigOC.OCPolarity = TIM_OCPOLARITY_HIGH;
  sConfigOC.OCFastMode = TIM_OCFAST_DISABLE;
  if (HAL_TIM_PWM_ConfigChannel(&htim3, &sConfigOC, TIM_CHANNEL_1) != HAL_OK ||
      HAL_TIM_PWM_ConfigChannel(&htim3, &sConfigOC, TIM_CHANNEL_2) != HAL_OK ||
      HAL_TIM_PWM_ConfigChannel(&htim3, &sConfigOC, TIM_CHANNEL_3) != HAL_OK ||
      HAL_TIM_PWM_ConfigChannel(&htim3, &sConfigOC, TIM_CHANNEL_4) != HAL_OK)
  {
    Error_Handler();
  }
  HAL_TIM_MspPostInit(&htim3);
}

static void MX_TIM4_Init(void)
{
  TIM_ClockConfigTypeDef sClockSourceConfig = {0};
  TIM_MasterConfigTypeDef sMasterConfig = {0};

  htim4.Instance = TIM4;
  htim4.Init.Prescaler = 83;
  htim4.Init.CounterMode = TIM_COUNTERMODE_UP;
  htim4.Init.Period = 65535;
  htim4.Init.ClockDivision = TIM_CLOCKDIVISION_DIV1;
  htim4.Init.AutoReloadPreload = TIM_AUTORELOAD_PRELOAD_DISABLE;
  if (HAL_TIM_Base_Init(&htim4) != HAL_OK)
  {
    Error_Handler();
  }
  sClockSourceConfig.ClockSource = TIM_CLOCKSOURCE_INTERNAL;
  if (HAL_TIM_ConfigClockSource(&htim4, &sClockSourceConfig) != HAL_OK)
  {
    Error_Handler();
  }
  sMasterConfig.MasterOutputTrigger = TIM_TRGO_RESET;
  sMasterConfig.MasterSlaveMode = TIM_MASTERSLAVEMODE_DISABLE;
  if (HAL_TIMEx_MasterConfigSynchronization(&htim4, &sMasterConfig) != HAL_OK)
  {
    Error_Handler();
  }
}

static void MX_USART1_UART_Init(void)
{
  huart1.Instance = USART1;
  huart1.Init.BaudRate = 115200;
  huart1.Init.WordLength = UART_WORDLENGTH_8B;
  huart1.Init.StopBits = UART_STOPBITS_1;
  huart1.Init.Parity = UART_PARITY_NONE;
  huart1.Init.Mode = UART_MODE_TX_RX;
  huart1.Init.HwFlowCtl = UART_HWCONTROL_NONE;
  huart1.Init.OverSampling = UART_OVERSAMPLING_16;
  if (HAL_UART_Init(&huart1) != HAL_OK)
  {
    Error_Handler();
  }
}

static void MX_USART2_UART_Init(void)
{
  huart2.Instance = USART2;
  huart2.Init.BaudRate = 115200;
  huart2.Init.WordLength = UART_WORDLENGTH_8B;
  huart2.Init.StopBits = UART_STOPBITS_1;
  huart2.Init.Parity = UART_PARITY_NONE;
  huart2.Init.Mode = UART_MODE_TX_RX;
  huart2.Init.HwFlowCtl = UART_HWCONTROL_NONE;
  huart2.Init.OverSampling = UART_OVERSAMPLING_16;
  if (HAL_UART_Init(&huart2) != HAL_OK)
  {
    Error_Handler();
  }
}

static void MX_USART6_UART_Init(void)
{
  huart6.Instance = USART6;
  huart6.Init.BaudRate = 115200;
  huart6.Init.WordLength = UART_WORDLENGTH_8B;
  huart6.Init.StopBits = UART_STOPBITS_1;
  huart6.Init.Parity = UART_PARITY_NONE;
  huart6.Init.Mode = UART_MODE_RX;
  huart6.Init.HwFlowCtl = UART_HWCONTROL_NONE;
  huart6.Init.OverSampling = UART_OVERSAMPLING_16;
  if (HAL_UART_Init(&huart6) != HAL_OK)
  {
    Error_Handler();
  }
}

static void MX_GPIO_Init(void)
{
  GPIO_InitTypeDef GPIO_InitStruct = {0};

  __HAL_RCC_GPIOC_CLK_ENABLE();
  __HAL_RCC_GPIOH_CLK_ENABLE();
  __HAL_RCC_GPIOA_CLK_ENABLE();
  __HAL_RCC_GPIOB_CLK_ENABLE();

  HAL_GPIO_WritePin(GPIOA, GPIO_PIN_5, GPIO_PIN_RESET);

  GPIO_InitStruct.Pin = B1_Pin;
  GPIO_InitStruct.Mode = GPIO_MODE_INPUT;
  GPIO_InitStruct.Pull = GPIO_NOPULL;
  HAL_GPIO_Init(B1_GPIO_Port, &GPIO_InitStruct);

  GPIO_InitStruct.Pin = GPIO_PIN_5;
  GPIO_InitStruct.Mode = GPIO_MODE_OUTPUT_PP;
  GPIO_InitStruct.Pull = GPIO_NOPULL;
  GPIO_InitStruct.Speed = GPIO_SPEED_FREQ_LOW;
  HAL_GPIO_Init(GPIOA, &GPIO_InitStruct);
}

void Error_Handler(void)
{
  __disable_irq();
  while (1)
  {
  }
}
